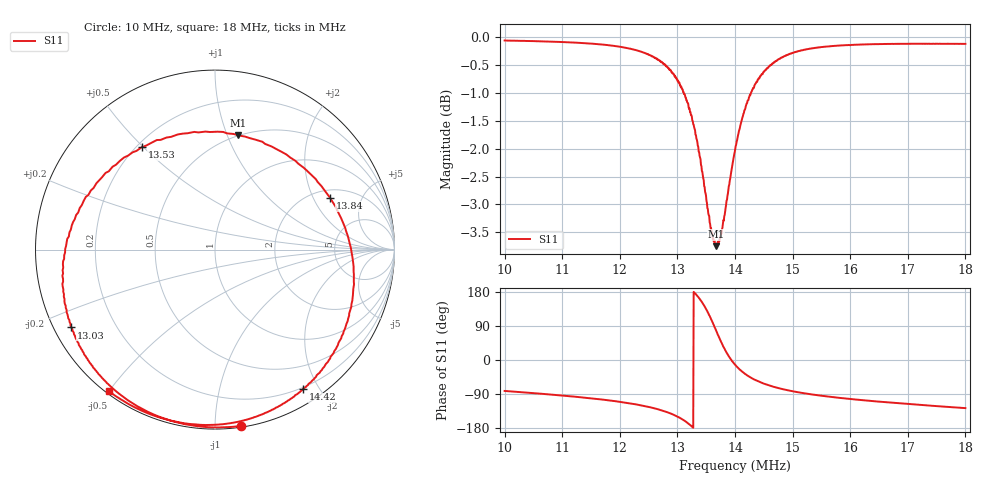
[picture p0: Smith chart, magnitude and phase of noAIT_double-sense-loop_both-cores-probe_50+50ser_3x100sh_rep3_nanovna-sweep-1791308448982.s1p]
! NanoVNA Web complex sweep
! Processing: unaveraged complex samples; linear segment spacing; no smoothing
# Hz S RI R 50
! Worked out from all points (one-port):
!   1010 points, 10 MHz to 18 MHz, reference 50 ohm
!   lowest |S11| = -3.7 dB at 13.67 MHz (marker M1), VSWR 4.71, Z = 24.8 + j54.6 ohm
!   |S11| at or under -10 dB: nowhere
!   S11 on the Smith chart (normalised r, x): 10 MHz: 0.01, -1.16; 13.03 MHz: 0.05, -0.25; 13.53 MHz: 0.22, +0.50; 13.84 MHz: 2.40, +2.72; 14.42 MHz: 0.18, -1.80; 18 MHz: 0.01, -0.50
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1e7  0.1438 -0.9824
1.100698e7  -0.0661 -0.9875
1.200604e7  -0.3423 -0.9183
1.233113e7  -0.4634 -0.8542
1.260071e7  -0.5832 -0.7611
1.282272e7  -0.6958 -0.6329
1.300509e7  -0.787 -0.4621
1.302888e7  -0.8006 -0.4339
1.317953e7  -0.8485 -0.2057
1.332225e7  -0.811 0.0957
1.342533e7  -0.6765 0.3432
1.35284e7  -0.4071 0.5714
1.36077e7  -0.1151 0.6558
1.367113e7  0.1283 0.6368
1.375835e7  0.4486 0.4942
1.383764e7  0.6416 0.2875
1.391693e7  0.7442 0.0605
1.400414e7  0.7734 -0.1771
1.409929e7  0.7415 -0.3855
1.419444e7  0.6782 -0.5435
1.430545e7  0.5878 -0.678
1.442438e7  0.4898 -0.7774
1.467811e7  0.308 -0.8981
1.50032e7  0.126 -0.9599
1.544722e7  -0.0552 -0.977
1.600225e7  -0.2192 -0.9585
1.700131e7  -0.4335 -0.8858
1.800036e7  -0.5931 -0.7876
